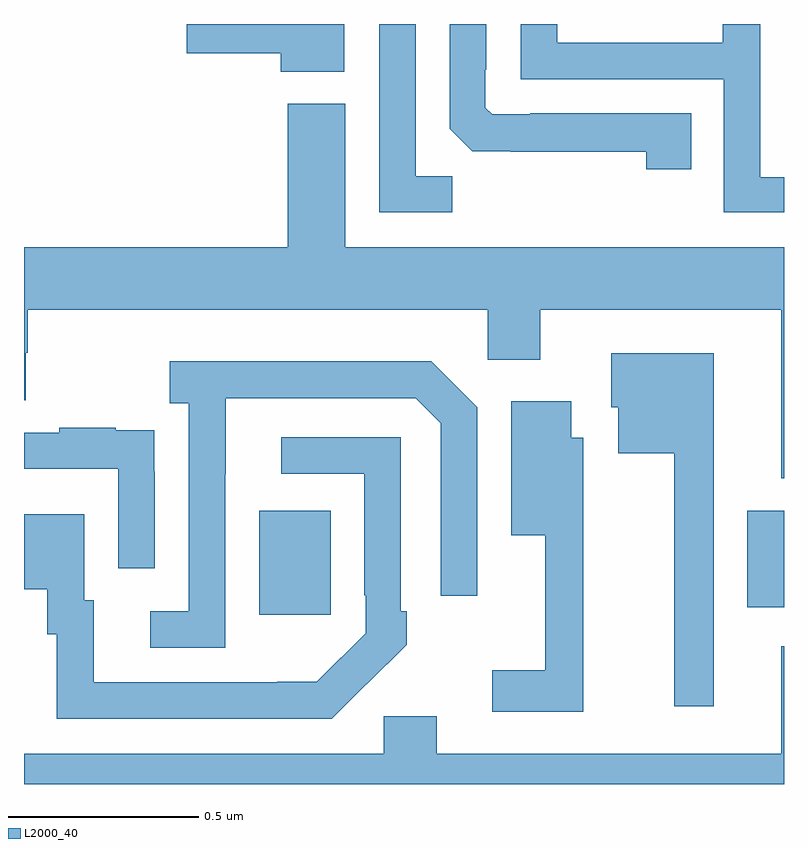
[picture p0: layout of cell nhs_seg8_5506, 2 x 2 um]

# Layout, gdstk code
import gdstk
lib = gdstk.Library(unit=1e-6, precision=1e-09)
def R(c, l, rs):  # rectangles x0, y0, x1, y1
    for r in rs: c.add(gdstk.rectangle(r[:2], r[2:], *l))
def P(c, l, *ps):  # polygons
    for p in ps: c.add(gdstk.Polygon(p, *l))
L2000_40 = (2000, 40)

nhs_seg8_5506 = lib.new_cell('nhs_seg8_5506')
R(nhs_seg8_5506, L2000_40, [(184.619,1134.345,184.807,1134.619), (185.903,1134.365,186,1134.619)])
P(nhs_seg8_5506, L2000_40, [(185.127,1135.499),(185.031,1135.499),(185.031,1135.9),(184.935,1135.9),(184.935,1135.404),(185.127,1135.404)],
  [(184.843,1135.9),(184.428,1135.9),(184.428,1135.823),(184.676,1135.823),(184.676,1135.775),(184.843,1135.775)],
  [(185.756,1135.665),(185.332,1135.665),(185.332,1135.662),(185.232,1135.662),(185.214,1135.68),(185.214,1135.78),(185.217,1135.78),(185.217,1135.9),(185.121,1135.9),(185.121,1135.624),(185.18,1135.565),(185.281,1135.565),(185.281,1135.564),(185.638,1135.564),(185.638,1135.518),(185.756,1135.518)],
  [(186,1135.497),(185.937,1135.497),(185.937,1135.9),(185.839,1135.9),(185.839,1135.851),(185.403,1135.851),(185.403,1135.9),(185.307,1135.9),(185.307,1135.755),(185.841,1135.755),(185.841,1135.404),(186,1135.404)],
  [(186,1135.312),(184.846,1135.312),(184.846,1135.69),(184.694,1135.69),(184.694,1135.312),(184,1135.312),(184,1134.91),(184.005,1134.91),(184.005,1135.035),(184.01,1135.035),(184.01,1135.148),(185.22,1135.148),(185.22,1135.017),(185.359,1135.017),(185.359,1135.148),(185.993,1135.148),(185.993,1134.704),(186,1134.704)],
  [(185.815,1135.033),(185.546,1135.033),(185.546,1134.891),(185.564,1134.891),(185.564,1134.77),(185.711,1134.77),(185.711,1134.105),(185.815,1134.105)],
  [(184.53,1134.715),(184.531,1134.715),(184.531,1134.915),(185.031,1134.915),(185.097,1134.849),(185.097,1134.396),(185.193,1134.396),(185.193,1134.891),(185.072,1135.012),(184.383,1135.012),(184.383,1134.902),(184.434,1134.902),(184.434,1134.354),(184.332,1134.354),(184.332,1134.258),(184.53,1134.258)],
  [(185.472,1134.811),(185.44,1134.811),(185.44,1134.907),(185.282,1134.907),(185.282,1134.554),(185.372,1134.554),(185.372,1134.199),(185.232,1134.199),(185.232,1134.09),(185.472,1134.09)],
  [(184.344,1134.722),(184.343,1134.722),(184.343,1134.831),(184.241,1134.831),(184.241,1134.838),(184.093,1134.838),(184.093,1134.825),(184,1134.825),(184,1134.729),(184.248,1134.729),(184.248,1134.468),(184.344,1134.468)],
  [(184.901,1134.163),(184.902,1134.162),(185.007,1134.267),(185.007,1134.355),(184.992,1134.355),(184.992,1134.813),(184.677,1134.813),(184.677,1134.717),(184.896,1134.717),(184.896,1134.397),(184.899,1134.397),(184.899,1134.297),(184.771,1134.169),(184.667,1134.169),(184.667,1134.168),(184.183,1134.168),(184.183,1134.384),(184.159,1134.384),(184.159,1134.61),(184,1134.61),(184,1134.413),(184.061,1134.413),(184.061,1134.294),(184.086,1134.294),(184.086,1134.072),(184.81,1134.072)],
  [(186,1134.262),(185.993,1134.262),(185.993,1133.98),(185.086,1133.98),(185.086,1134.078),(184.947,1134.078),(184.947,1133.98),(184,1133.98),(184,1133.9),(186,1133.9)])

lib.write_gds('nhs_seg8_5506.gds')
